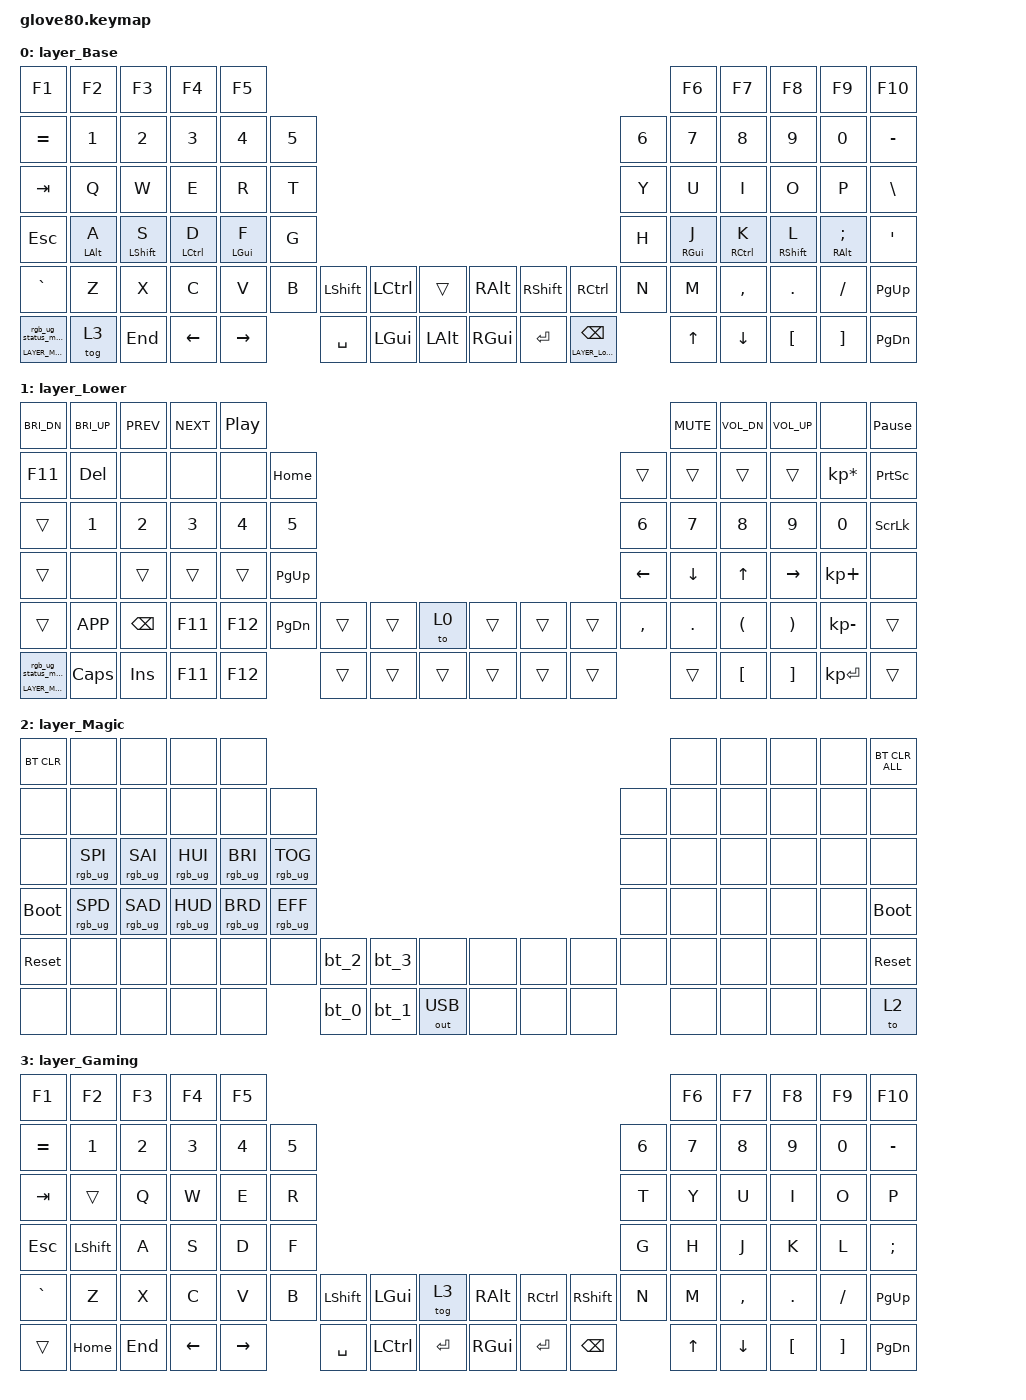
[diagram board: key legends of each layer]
#include <behaviors.dtsi>
#include <dt-bindings/zmk/outputs.h>
#include <dt-bindings/zmk/keys.h>
#include <dt-bindings/zmk/bt.h>
#include <dt-bindings/zmk/rgb.h>
#include <dt-bindings/zmk/rgb_colors.h>

#define LAYER_Base 0
#define LAYER_Lower 1
#define LAYER_Magic 2
#define LAYER_Gaming 3

/ {
    underglow-layer {
        compatible = "zmk,underglow-layer";

        lower {
            bindings = <
                ______ ______ ______ ______ ______                                                         0x8A2BE2 0xa966e8 0xcba8ec ______ ______
                ______ ______ ______ ______ ______ ______                                           ______ GOLD     ORANGE   ORANGE   ORANGE ______
                ______ ______ ______ RED    ______ ______                                           ______ YELLOW   YELLOW   YELLOW   ORANGE ______
                ______ ______ RED    RED    RED    ______                                           ______ YELLOW   YELLOW   YELLOW   ORANGE ______
                ______ ______ ______ ______ ______ ______ ______ ______ ______ ______ ______ ______ ______ YELLOW   YELLOW   YELLOW   RED    ______
                ______ ______ ______ ______ ______        ______ ______ GREEN  ______ ______ ______        YELLOW   YELLOW   YELLOW   RED    ______
            >;
            layer-id = <LAYER_Lower>;
        };
        gaming {
            bindings = <
                ______ ______ ______ ______ ______                                                         ______ ______ ______ ______ ______
                ______ ______ ______ ______ ______ ______                                           ______ ______ ______ ______ ______ ______
                ______ ______ ______ PINK   ______ ______                                           ______ ______ ______ ______ ______ ______
                ______ GREEN  PINK   PINK   PINK   ______                                           ______ ______ ______ ______ ______ ______
                ______ ______ ______ ______ ______ ______ ______ ______ RED    ______ ______ ______ ______ ______ ______ ______ ______ ______
                ______ ______ ______ ______ ______        ______ ______ ______ ______ ______ ______        ______ ______ ______ ______ ______
            >;
            layer-id = <LAYER_Gaming>;
        };
    };
};

/ {
    keymap {
        compatible = "zmk,keymap";

        layer_Base {
            bindings = <
                &kp F1                 &kp F2        &kp F3         &kp F4         &kp F5                                                                                                           &kp F6        &kp F7         &kp F8         &kp F9           &kp F10
                &kp EQUAL              &kp N1        &kp N2         &kp N3         &kp N4        &kp N5                                                                                    &kp N6   &kp N7        &kp N8         &kp N9         &kp N0           &kp MINUS
                &kp TAB                &kp Q         &kp W          &kp E          &kp R         &kp T                                                                                     &kp Y    &kp U         &kp I          &kp O          &kp P            &kp BSLH
                &kp ESC                &hml LALT A   &hml LSHFT S   &hml LCTRL D   &hml LGUI F   &kp G                                                                                     &kp H    &hmr RGUI J   &hmr RCTRL K   &hmr RSHFT L   &hmr RALT SEMI   &kp SQT
                &kp GRAVE              &kp Z         &kp X          &kp C          &kp V         &kp B    &kp LSHFT   &kp LCTRL   &trans     &kp RALT   &kp RSHFT   &kp RCTRL              &kp N    &kp M         &kp COMMA      &kp DOT        &kp FSLH         &kp PG_UP
                &magic LAYER_Magic 0   &tog 3        &kp END        &kp LEFT       &kp RIGHT              &kp SPACE   &kp LGUI    &kp LALT   &kp RGUI   &kp RET     &lt LAYER_Lower BSPC            &kp UP        &kp DOWN       &kp LBKT       &kp RBKT         &kp PG_DN
            >;
        };
        layer_Lower {
            bindings = <
                &kp C_BRI_DN           &kp C_BRI_UP   &kp C_PREV   &kp C_NEXT   &kp C_PP                                                                                      &kp C_MUTE       &kp C_VOL_DN   &kp C_VOL_UP      &none             &kp PAUSE_BREAK
                &kp F11                &kp DEL        &none        &none        &none      &kp HOME                                                          &trans           &trans           &trans         &trans            &kp KP_MULTIPLY   &kp PRINTSCREEN
                &trans                 &kp N1         &kp N2       &kp N3       &kp N4     &kp N5                                                            &kp N6           &kp N7           &kp N8         &kp N9            &kp N0            &kp SCROLLLOCK
                &trans                 &none          &trans       &trans       &trans     &kp PG_UP                                                         &kp LEFT_ARROW   &kp DOWN_ARROW   &kp UP_ARROW   &kp RIGHT_ARROW   &kp KP_PLUS       &none
                &trans                 &kp K_APP      &kp BSPC     &kp F11      &kp F12    &kp PG_DN   &trans   &trans   &to 0    &trans   &trans   &trans   &kp COMMA        &kp DOT          &kp LPAR       &kp RPAR          &kp KP_MINUS      &trans
                &magic LAYER_Magic 0   &kp CAPS       &kp INS      &kp F11      &kp F12                &trans   &trans   &trans   &trans   &trans   &trans                    &trans           &kp LBKT       &kp RBKT          &kp KP_ENTER      &trans
            >;
        };
        layer_Magic {
            bindings = <
                &bt BT_CLR    &none             &none             &none             &none                                                                                              &none   &none   &none   &none   &bt BT_CLR_ALL
                &none         &none             &none             &none             &none             &none                                                                    &none   &none   &none   &none   &none   &none
                &none         &rgb_ug RGB_SPI   &rgb_ug RGB_SAI   &rgb_ug RGB_HUI   &rgb_ug RGB_BRI   &rgb_ug RGB_TOG                                                          &none   &none   &none   &none   &none   &none
                &bootloader   &rgb_ug RGB_SPD   &rgb_ug RGB_SAD   &rgb_ug RGB_HUD   &rgb_ug RGB_BRD   &rgb_ug RGB_EFF                                                          &none   &none   &none   &none   &none   &bootloader
                &sys_reset    &none             &none             &none             &none             &none             &bt_2   &bt_3   &none          &none   &none   &none   &none   &none   &none   &none   &none   &sys_reset
                &none         &none             &none             &none             &none                               &bt_0   &bt_1   &out OUT_USB   &none   &none   &none           &none   &none   &none   &none   &to 2
            >;
        };
        layer_Gaming {
            bindings = <
                &kp F1      &kp F2      &kp F3    &kp F4     &kp F5                                                                                             &kp F6   &kp F7      &kp F8     &kp F9     &kp F10
                &kp EQUAL   &kp N1      &kp N2    &kp N3     &kp N4      &kp N5                                                                        &kp N6   &kp N7   &kp N8      &kp N9     &kp N0     &kp MINUS
                &kp TAB     &trans      &kp Q     &kp W      &kp E       &kp R                                                                         &kp T    &kp Y    &kp U       &kp I      &kp O      &kp P
                &kp ESC     &kp LSHFT   &kp A     &kp S      &kp D       &kp F                                                                         &kp G    &kp H    &kp J       &kp K      &kp L      &kp SEMI
                &kp GRAVE   &kp Z       &kp X     &kp C      &kp V       &kp B    &kp LSHFT   &kp LGUI    &tog 3    &kp RALT   &kp RCTRL   &kp RSHFT   &kp N    &kp M    &kp COMMA   &kp DOT    &kp FSLH   &kp PG_UP
                &trans      &kp HOME    &kp END   &kp LEFT   &kp RIGHT            &kp SPACE   &kp LCTRL   &kp RET   &kp RGUI   &kp RET     &kp BSPC             &kp UP   &kp DOWN    &kp LBKT   &kp RBKT   &kp PG_DN
            >;
        };
    };
};

// key definitions
// https://github.com/urob/zmk-helpers/blob/main/include/zmk-helpers/key-labels/glove80.h
// Groups
#define KEYS_L LC1 LC2 LC3 LC4 LC5 LN0 LN1 LN2 LN3 LN4 LN5 LT0 LT1 LT2 LT3 LT4 LT5 LM0 LM1 LM2 LM3 LM4 LM5 LB0 LB1 LB2 LB3 LB4 LB5 LF1 LF2 LF3 LF4 LF5
#define KEYS_R RC1 RC2 RC3 RC4 RC5 RN0 RN1 RN2 RN3 RN4 RN5 RT0 RT1 RT2 RT3 RT4 RT5 RM0 RM1 RM2 RM3 RM4 RM5 RB0 RB1 RB2 RB3 RB4 RB5 RF1 RF2 RF3 RF4 RF5
#define THUMBS LH0 LH1 LH2 LH3 LH4 LH5 RH0 RH1 RH2 RH3 RH4 RH5

// left-ceiling row
#define LC1 4
#define LC2 3
#define LC3 2
#define LC4 1
#define LC5 0

// right-ceiling row
#define RC1 5
#define RC2 6
#define RC3 7
#define RC4 8
#define RC5 9

// left-number row
#define LN0 15
#define LN1 14
#define LN2 13
#define LN3 12
#define LN4 11
#define LN5 10

// right-number row
#define RN0 16
#define RN1 17
#define RN2 18
#define RN3 19
#define RN4 20
#define RN5 21

// left-top row
#define LT0 27
#define LT1 26
#define LT2 25
#define LT3 24
#define LT4 23
#define LT5 22

// right-top row
#define RT0 28
#define RT1 29
#define RT2 30
#define RT3 31
#define RT4 32
#define RT5 33

// left-middle row
#define LM0 39
#define LM1 38
#define LM2 37
#define LM3 36
#define LM4 35
#define LM5 34

// right-middle row
#define RM0 40
#define RM1 41
#define RM2 42
#define RM3 43
#define RM4 44
#define RM5 45

// left-bottom row
#define LB0 51
#define LB1 50
#define LB2 49
#define LB3 48
#define LB4 47
#define LB5 46

// right-bottom row
#define RB0 58
#define RB1 59
#define RB2 60
#define RB3 61
#define RB4 62
#define RB5 63

// left-floor row
#define LF1 68
#define LF2 67
#define LF3 66
#define LF4 65
#define LF5 64

// right-floor row
#define RF1 75
#define RF2 76
#define RF3 77
#define RF4 78
#define RF5 79

// left thumb keys
#define LH0 71
#define LH1 70
#define LH2 69
#define LH3 54
#define LH4 53
#define LH5 52

// right thumb keys
#define RH0 72
#define RH1 73
#define RH2 74
#define RH3 55
#define RH4 56
#define RH5 57

// home row mods
/ {
    behaviors {
        hml: home_row_mod_left {
            compatible = "zmk,behavior-hold-tap";
            #binding-cells = <2>;
            flavor = "balanced";
            tapping-term-ms = <280>;
            quick-tap-ms = <175>;
            require-prior-idle-ms = <160>;
            bindings = <&kp>, <&kp>;
            hold-trigger-key-positions = <KEYS_R THUMBS>;
            hold-trigger-on-release;
        };
        hmr: home_row_mod_right {
            compatible = "zmk,behavior-hold-tap";
            #binding-cells = <2>;
            flavor = "balanced";
            tapping-term-ms = <280>;
            quick-tap-ms = <175>;
            require-prior-idle-ms = <160>;
            bindings = <&kp>, <&kp>;
            hold-trigger-key-positions = <KEYS_L THUMBS>;
            hold-trigger-on-release;
        };
    };
};

// misc
/ {
    behaviors {
        lower: lower {
            compatible = "zmk,behavior-tap-dance";
            label = "LAYER_TAP_DANCE";
            #binding-cells = <0>;
            tapping-term-ms = <200>;
            bindings = <&mo LAYER_Lower>, <&to LAYER_Lower>;
        };
    };
};

/ {
    macros {
        rgb_ug_status_macro: rgb_ug_status_macro {
            label = "RGB_UG_STATUS";
            compatible = "zmk,behavior-macro";
            #binding-cells = <0>;
            bindings = <&rgb_ug RGB_STATUS>;
        };
    };
};

/ {
    behaviors {
        magic: magic {
            compatible = "zmk,behavior-hold-tap";
            label = "MAGIC_HOLD_TAP";
            #binding-cells = <2>;
            flavor = "tap-preferred";
            tapping-term-ms = <200>;
            bindings = <&mo>, <&rgb_ug_status_macro>;
        };
    };
};

// Bluetooth behaviors
/ {
    behaviors {
        bt_0: bt_0 {
            compatible = "zmk,behavior-tap-dance";
            label = "BT_0";
            #binding-cells = <0>;
            tapping-term-ms = <200>;
            bindings = <&bt_select_0>, <&bt BT_DISC 0>;
        };
        bt_1: bt_1 {
            compatible = "zmk,behavior-tap-dance";
            label = "BT_1";
            #binding-cells = <0>;
            tapping-term-ms = <200>;
            bindings = <&bt_select_1>, <&bt BT_DISC 1>;
        };
        bt_2: bt_2 {
            compatible = "zmk,behavior-tap-dance";
            label = "BT_2";
            #binding-cells = <0>;
            tapping-term-ms = <200>;
            bindings = <&bt_select_2>, <&bt BT_DISC 2>;
        };
        bt_3: bt_3 {
            compatible = "zmk,behavior-tap-dance";
            label = "BT_3";
            #binding-cells = <0>;
            tapping-term-ms = <200>;
            bindings = <&bt_select_3>, <&bt BT_DISC 3>;
        };
    };
    macros {
        bt_select_0: bt_select_0 {
            label = "BT_SELECT_0";
            compatible = "zmk,behavior-macro";
            #binding-cells = <0>;
            bindings = <&out OUT_BLE>, <&bt BT_SEL 0>;
        };
        bt_select_1: bt_select_1 {
            label = "BT_SELECT_1";
            compatible = "zmk,behavior-macro";
            #binding-cells = <0>;
            bindings = <&out OUT_BLE>, <&bt BT_SEL 1>;
        };
        bt_select_2: bt_select_2 {
            label = "BT_SELECT_2";
            compatible = "zmk,behavior-macro";
            #binding-cells = <0>;
            bindings = <&out OUT_BLE>, <&bt BT_SEL 2>;
        };
        bt_select_3: bt_select_3 {
            label = "BT_SELECT_3";
            compatible = "zmk,behavior-macro";
            #binding-cells = <0>;
            bindings = <&out OUT_BLE>, <&bt BT_SEL 3>;
        };
    };
};
